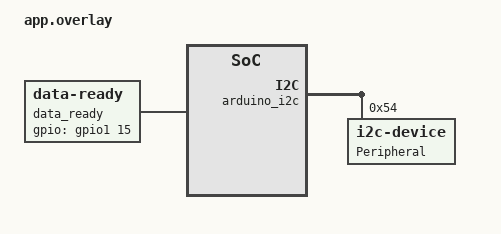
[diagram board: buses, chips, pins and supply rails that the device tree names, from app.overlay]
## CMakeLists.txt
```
# SPDX-License-Identifier: Apache-2.0

cmake_minimum_required(VERSION 3.20.0)

find_package(Zephyr REQUIRED HINTS $ENV{ZEPHYR_BASE})
project(hello_world)

target_sources(app PRIVATE 
			   src/main.c
			   ../common/src/crypto.c
)

target_include_directories(app PRIVATE ../common/inc/)
```

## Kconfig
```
config BSIB_I2C_ENCRYPTION
	bool "Encryption is enabled for I2C transport"
	help
	  Enables encryption for I2C communication

source "Kconfig.zephyr"
```

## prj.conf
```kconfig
CONFIG_SHELL=y
CONFIG_GPIO=y
CONFIG_I2C=y
CONFIG_I2C_SHELL=y

CONFIG_MAIN_STACK_SIZE=4096
CONFIG_HEAP_MEM_POOL_SIZE=4096

# Enable logging
CONFIG_CONSOLE=y
CONFIG_LOG=y

# Enable nordic security backend and PSA APIs
CONFIG_NRF_SECURITY=y
CONFIG_MBEDTLS_PSA_CRYPTO_C=y

CONFIG_MBEDTLS_ENABLE_HEAP=y
CONFIG_MBEDTLS_HEAP_SIZE=8192

CONFIG_PSA_WANT_GENERATE_RANDOM=y
CONFIG_PSA_WANT_KEY_TYPE_AES=y
CONFIG_PSA_WANT_ALG_CTR=y
```

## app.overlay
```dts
&arduino_i2c {
	status = "okay";
	peripheral: peripheral@54 {
		status = "okay";
		compatible = "i2c-device";
		reg = <0x54>;
		label = "Peripheral";
	};
};

/ {
	data_ready: data_ready {
		compatible = "data-ready";
		gpios = <&gpio1 15 GPIO_ACTIVE_HIGH>;
	};
};
```

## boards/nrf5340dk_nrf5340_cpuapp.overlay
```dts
&pinctrl {
	i2c1_default: i2c1_default {
		group1 {
			psels = <NRF_PSEL(TWIM_SDA, 1, 2)>,
				<NRF_PSEL(TWIM_SCL, 1, 3)>;
		};
	};

	i2c1_sleep: i2c1_sleep {
		group1 {
			psels = <NRF_PSEL(TWIM_SDA, 1, 2)>,
				<NRF_PSEL(TWIM_SCL, 1, 3)>;
			low-power-enable;
		};
	};
};
```

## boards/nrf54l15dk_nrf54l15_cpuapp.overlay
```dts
&pwm20 {
	status = "disabled";
};

&pinctrl {
	i2c21_default: i2c21_default {
		group1 {
			psels = <NRF_PSEL(TWIM_SDA, 1, 14)>,
				<NRF_PSEL(TWIM_SCL, 1, 12)>;
			bias-pull-up;
		};
	};

	i2c21_sleep: i2c21_sleep {
		group1 {
			psels = <NRF_PSEL(TWIM_SDA, 1, 14)>,
				<NRF_PSEL(TWIM_SCL, 1, 12)>;
			low-power-enable;
		};
	};
};

&i2c21 {
	status = "okay";

	pinctrl-0 = <&i2c21_default>;
	pinctrl-1 = <&i2c21_sleep>;
	pinctrl-names = "default", "sleep";

	peripheral: peripheral@54 {
		status = "okay";
		compatible = "i2c-device";
		reg = <0x54>;
		label = "Peripheral";
	};
};

/ {
	data_ready: data_ready {
		compatible = "data-ready";
		gpios = <&gpio1 10 GPIO_ACTIVE_HIGH>;
	};
};
```

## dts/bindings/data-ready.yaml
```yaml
description: GPIO pin to indicate that data has been received

compatible: "data-ready"

properties:
  gpios:
    type: phandle-array
    required: true
    description: |
      The GPIO connected to the EC's interrupt pin 
```

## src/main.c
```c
#include <zephyr/kernel.h>
#include <zephyr/logging/log.h>
#include <zephyr/drivers/i2c.h>
#include <zephyr/drivers/gpio.h>
#include <zephyr/shell/shell.h>
#include <string.h>
#include <stdlib.h>

#include "i2c_packet.h"
#include "i2c_register_map.h"
#include "crypto.h"

LOG_MODULE_REGISTER(main);

#define MAX_MESSAGE_LENGTH 16


const struct i2c_dt_spec i2c_dev = I2C_DT_SPEC_GET(DT_NODELABEL(peripheral));

static const struct gpio_dt_spec data_ready = GPIO_DT_SPEC_GET(DT_NODELABEL(data_ready), gpios);

static int i2c_bridge_read(struct i2c_reg_packet *plaintext, enum i2c_cmds cmd) {
	int result;


#if defined(CONFIG_BSIB_I2C_ENCRYPTION)
	plaintext->magic = I2C_PACKET_MAGIC;
#endif
	plaintext->reg = cmd;
	memset(plaintext->plaintext, 0, sizeof(plaintext->plaintext));

#if defined(CONFIG_BSIB_I2C_ENCRYPTION)
    struct i2c_reg_enc_packet ciphertext = {0};
	result = encrypt_i2c_packet(plaintext, &ciphertext);
	if (result < 0) {
		LOG_ERR("I2C encrypt failed (err: %d)", result);
		return -1;
	}

	uint8_t results_buf[I2C_PACKET_SIZE_BYTES];

    result = i2c_write_read_dt(
                &i2c_dev, 
                ciphertext.data, 
                sizeof(struct i2c_reg_enc_packet), 
                results_buf, 
				I2C_PACKET_SIZE_BYTES
    );
	if (result < 0) {
		LOG_ERR("I2C write/read failed (err: %d)", result);
		return -1;
	}
	LOG_HEXDUMP_INF(results_buf, I2C_PACKET_SIZE_BYTES, "Ciphertext:");

    result = decrypt_i2c_packet(plaintext, (struct i2c_reg_enc_packet *)results_buf);
	if (result < 0) {
		LOG_ERR("I2C decrypt failed (err: %d)", result);
		return -1;
	}
#else

	uint8_t results_buf[I2C_REG_PACKET_BYTES];
    result = i2c_write_read_dt(
                &i2c_dev, 
                plaintext->data, 
                sizeof(struct i2c_reg_packet), 
                results_buf, 
				I2C_REG_PACKET_BYTES 
    );
	if (result < 0) {
		LOG_ERR("Failed to send unencrypted I2C packet (err: %d)", result);
		return -1;
	}

	memcpy(plaintext, results_buf, I2C_REG_PACKET_BYTES);
#endif
	return 0;
}

static void read_work_handler(struct k_work *work)
{
	struct i2c_reg_packet plaintext;
	LOG_INF("I2C Packet");
    i2c_bridge_read(&plaintext, I2C_REG_RX_BUF);
#if defined(CONFIG_BSIB_I2C_ENCRYPTION)
	LOG_HEXDUMP_INF(plaintext.plaintext, sizeof(plaintext.plaintext), "Plaintext: ");
#else 
	LOG_HEXDUMP_INF(plaintext.data, sizeof(plaintext.data), "Plaintext: ");
#endif
}

K_WORK_DEFINE(read_work, read_work_handler);

static struct gpio_callback data_ready_cb_data;

void data_ready_cb(const struct device *dev, struct gpio_callback *cb, uint32_t pins) {
	k_work_submit(&read_work);
}

#if defined(CONFIG_BSIB_I2C_ENCRYPTION)
static int cmd_encrypt_send(const struct shell *shell, size_t argc, char **argv)
{
    if (argc < 2 || argc > 3) {
        shell_error(shell, "Usage: encrypt_send <register> [data]");
        return -EINVAL;
    }

    struct i2c_reg_packet plaintext = {0};
    struct i2c_reg_enc_packet ciphertext = {0};

    plaintext.magic = I2C_PACKET_MAGIC;
    plaintext.reg = (uint8_t)strtol(argv[1], NULL, 0);

    if (argc == 3) {
        size_t message_len = strlen(argv[2]);
        if (message_len > MAX_MESSAGE_LENGTH - 1) {
            shell_error(shell, "Data too long. Max length is %d", MAX_MESSAGE_LENGTH - 1);
            return -EINVAL;
        }
        strncpy(plaintext.plaintext, argv[2], message_len);
    }

    int result = encrypt_i2c_packet(&plaintext, &ciphertext);
    if (result < 0) {
        shell_error(shell, "Encryption failed");
        return result;
    }

    uint8_t results_buf[I2C_PACKET_SIZE_BYTES];

    result = i2c_write_read_dt(
                &i2c_dev, 
                ciphertext.data, 
                sizeof(struct i2c_reg_enc_packet), 
                results_buf, 
				I2C_PACKET_SIZE_BYTES
    );

    if (result < 0) {
        shell_error(shell, "Failed to send encrypted message over I2C");
        return result;
    }

    result = decrypt_i2c_packet(&plaintext, (struct i2c_reg_enc_packet *)results_buf);
    shell_print(shell, "Encrypted message sent successfully");
    return 0;
}
#endif

static int cmd_write_tx_reg(const struct shell *shell, size_t argc, char **argv)
{
    if (argc != 2) {
        shell_error(shell, "Usage: write_tx_reg <data>");
        return -EINVAL;
    }

	int result;
    struct i2c_reg_packet plaintext = {0};
#if defined(CONFIG_BSIB_I2C_ENCRYPTION)
    struct i2c_reg_enc_packet ciphertext = {0};
    plaintext.magic = I2C_PACKET_MAGIC;
#endif

    plaintext.reg = I2C_REG_TX_BUF;

    size_t message_len = strlen(argv[1]);
    if (message_len > MAX_MESSAGE_LENGTH - 1) {
        shell_error(shell, "Data too long. Max length is %d", MAX_MESSAGE_LENGTH - 1);
        return -EINVAL;
    }
    strncpy(plaintext.plaintext, argv[1], message_len);

#if defined(CONFIG_BSIB_I2C_ENCRYPTION)
    result = encrypt_i2c_packet(&plaintext, &ciphertext);
    if (result < 0) {
        shell_error(shell, "Encryption failed");
        return result;
    }

    result = i2c_write_dt(&i2c_dev, ciphertext.data, sizeof(struct i2c_reg_enc_packet));
    if (result < 0) {
        shell_error(shell, "Failed to write to TX register");
        return result;
    }

    result = i2c_write_dt(&i2c_dev, plaintext.data, sizeof(struct i2c_reg_packet));
#else
    result = i2c_write_dt(&i2c_dev, plaintext.data, message_len + 1);
#endif
    if (result < 0) {
        shell_error(shell, "Failed to write to unencrypted TX register");
        return result;
    }

    shell_print(shell, "Successfully wrote to TX register");
	shell_print(shell, "Plaintext: ");
	shell_hexdump(shell, plaintext.plaintext, sizeof(plaintext.plaintext));
#if defined(CONFIG_BSIB_I2C_ENCRYPTION)
	shell_print(shell, "Ciphertext: ");
	shell_hexdump(shell, ciphertext.data, sizeof(ciphertext.data));
#endif
    return 0;
}

static int cmd_read_rx_reg(const struct shell *shell, size_t argc, char **argv)
{
    if (argc != 1) {
        shell_error(shell, "Usage: read_rx_reg");
        return -EINVAL;
    }

    shell_print(shell, "Successfully read from RX register");
    struct i2c_reg_packet plaintext = {0};
    int result = i2c_bridge_read(&plaintext, I2C_REG_RX_BUF);
    if (result < 0) {
        shell_error(shell, "Failed to read from RX register");
        return result;
    }
	shell_print(shell, "Plaintext: ");
#if defined(CONFIG_BSIB_I2C_ENCRYPTION)
	shell_hexdump(shell, plaintext.plaintext, sizeof(plaintext.plaintext));
#else
	shell_hexdump(shell, plaintext.data, sizeof(plaintext.data));
#endif
    return 0;
}

SHELL_STATIC_SUBCMD_SET_CREATE(i2c_bridge_cmds,
    SHELL_CMD(write_tx, NULL, "Write to TX register", cmd_write_tx_reg),
    SHELL_CMD(read_rx, NULL, "Read from RX register", cmd_read_rx_reg),
#if defined(CONFIG_BSIB_I2C_ENCRYPTION)
    SHELL_CMD(encrypt_send, NULL, "Encrypt and send a message over I2C", cmd_encrypt_send),
#endif
    SHELL_SUBCMD_SET_END
);

SHELL_CMD_REGISTER(i2c_bridge, &i2c_bridge_cmds, "I2C Bridge commands", NULL);

int main(void)
{
    if (!device_is_ready(i2c_dev.bus)) {
        LOG_ERR("I2C NOT READY");
        return -EIO;
    }

	if (!gpio_is_ready_dt(&data_ready)) {
		LOG_ERR("Data ready line not ready %s", data_ready.port->name);
		return 0;
	}

	int err = gpio_pin_configure_dt(&data_ready, GPIO_INPUT);
	if (err < 0) {
		LOG_ERR("Error: %d, failed to configure %s pin %d", err,
		  		data_ready.port->name, data_ready.pin);
	}

	err = gpio_pin_interrupt_configure_dt(&data_ready, GPIO_INT_EDGE_TO_ACTIVE);
	if (err < 0) {
		LOG_ERR("Failed (err: %d) to configure interrupt on %s pin %d", err,
		  		data_ready.port->name, data_ready.pin);
	}

	gpio_init_callback(&data_ready_cb_data, data_ready_cb, BIT(data_ready.pin));
	gpio_add_callback(data_ready.port, &data_ready_cb_data);

    return 0;
}
```
